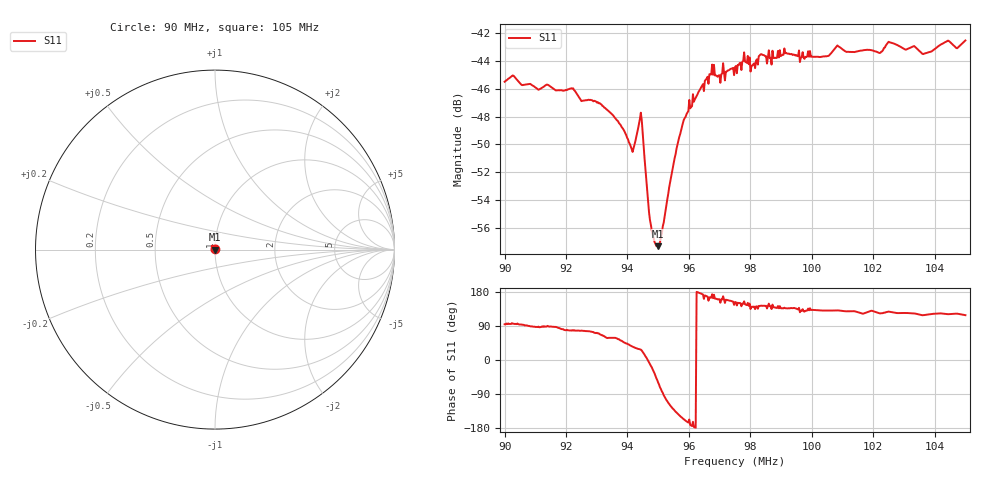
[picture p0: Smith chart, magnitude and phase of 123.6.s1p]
# HZ S RI R 50
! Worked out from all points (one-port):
!   505 points, 90 MHz to 105 MHz, reference 50 ohm
!   lowest |S11| = -57.3 dB at 95 MHz (marker M1), VSWR 1.00, Z = 50.1 - j0.118 ohm
!   |S11| at or under -10 dB: start of sweep to end of sweep
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9e7  -0.000391 0.00531
9.026786e7  -0.000573 0.00558
9.187501e7  0.000749 0.00489
9.309525e7  0.00167 0.00413
9.375001e7  0.00226 0.00298
9.416668e7  0.00244 0.00169
9.443454e7  0.00366 0.00189
9.449406e7  0.00324 0.00126
9.467263e7  0.00195 -5.81e-05
9.476192e7  0.00156 -0.000436
9.488097e7  0.00115 -0.000813
9.500002e7  0.000682 -0.00117
9.511906e7  0.000185 -0.0015
9.562502e7  -0.00245 -0.00198
9.59524e7  -0.00395 -0.00116
9.675597e7  -0.00609 0.000696
9.696431e7  -0.00528 0.00188
9.750002e7  -0.00535 0.00274
9.785717e7  -0.00517 0.00352
9.80655e7  -0.00469 0.00389
9.836312e7  -0.00537 0.00399
9.937503e7  -0.00483 0.00456
1.0125e8  -0.00425 0.00533
1.022322e8  -0.00368 0.00568
1.025298e8  -0.00448 0.00587
1.03125e8  -0.0039 0.0058
1.036608e8  -0.00322 0.0059
1.05e8  -0.00355 0.0066
